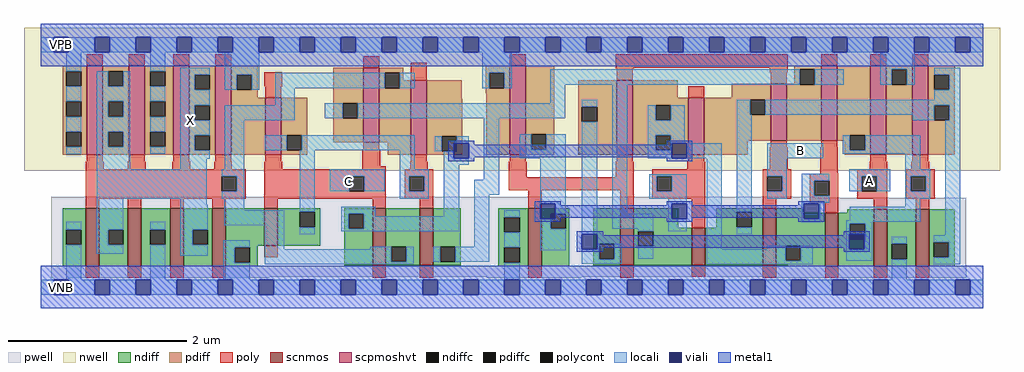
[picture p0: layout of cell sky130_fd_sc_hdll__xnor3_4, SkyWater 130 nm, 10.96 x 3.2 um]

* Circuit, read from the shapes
.subckt sky130_fd_sc_hdll__xnor3_4 A B C VGND VNB VPB VPWR X
XM1 X n1 VGND VNB sky130_fd_pr__nfet_01v8 w=0.65 l=0.15 m=4
XM2 n2 C VGND VNB sky130_fd_pr__nfet_01v8 w=0.42 l=0.15
XM3 n1 C n3 VNB sky130_fd_pr__nfet_01v8 w=0.64 l=0.15
XM4 n4 n2 n1 VNB sky130_fd_pr__nfet_01v8 w=0.64 l=0.15
XM5 n5 B VGND VNB sky130_fd_pr__nfet_01v8 w=0.65 l=0.15
XM6 n4 B n6 VNB sky130_fd_pr__nfet_01v8 w=0.64 l=0.15
XM7 n7 n5 n4 VNB sky130_fd_pr__nfet_01v8 w=0.42 l=0.15
XM8 n3 B n7 VNB sky130_fd_pr__nfet_01v8 w=0.64 l=0.15
XM9 n6 n5 n3 VNB sky130_fd_pr__nfet_01v8 w=0.6 l=0.15
XM10 VGND A n6 VNB sky130_fd_pr__nfet_01v8 w=0.64 l=0.15
XM11 n7 n6 VGND VNB sky130_fd_pr__nfet_01v8 w=0.64 l=0.15
XM12 X n1 VPWR VPB sky130_fd_pr__pfet_01v8_hvt w=1 l=0.18 m=4
XM13 n2 C VPWR VPB sky130_fd_pr__pfet_01v8_hvt w=0.64 l=0.18
XM14 n1 C n4 VPB sky130_fd_pr__pfet_01v8_hvt w=0.84 l=0.18
XM15 n3 n2 n1 VPB sky130_fd_pr__pfet_01v8_hvt w=0.84 l=0.18
XM16 n5 B VPWR VPB sky130_fd_pr__pfet_01v8_hvt w=1 l=0.18
XM17 n3 B n6 VPB sky130_fd_pr__pfet_01v8_hvt w=0.84 l=0.18
XM18 n7 n5 n3 VPB sky130_fd_pr__pfet_01v8_hvt w=0.64 l=0.18
XM19 n4 B n7 VPB sky130_fd_pr__pfet_01v8_hvt w=0.64 l=0.18
XM20 n6 n5 n4 VPB sky130_fd_pr__pfet_01v8_hvt w=0.84 l=0.18
XM21 VPWR A n6 VPB sky130_fd_pr__pfet_01v8_hvt w=1 l=0.18
XM22 n7 n6 VPWR VPB sky130_fd_pr__pfet_01v8_hvt w=1 l=0.18
.ends

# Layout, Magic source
magic
tech sky130A
magscale 1 2
<< nwell >>
rect -38 261 2154 582
<< pwell >>
rect 23 201 1737 203
rect 23 23 2078 201
rect 23 21 513 23
rect 1001 21 1213 23
rect 1652 21 2078 23
rect 29 -17 63 21
<< scnmos >>
rect 101 47 131 177
rect 195 47 225 177
rect 291 47 321 177
rect 385 47 415 177
rect 502 93 532 177
rect 745 49 775 177
rect 851 49 881 177
rect 1095 47 1125 177
rect 1301 49 1331 177
rect 1462 49 1492 133
rect 1621 49 1651 177
rect 1761 47 1791 167
rect 1871 47 1901 175
rect 1965 47 1995 175
<< scpmoshvt >>
rect 103 297 139 497
rect 197 297 233 497
rect 297 297 333 497
rect 391 297 427 497
rect 504 297 540 425
rect 724 325 760 493
rect 831 297 867 465
rect 1053 297 1089 497
rect 1293 297 1329 465
rect 1454 297 1490 425
rect 1639 329 1675 457
rect 1752 329 1788 497
rect 1863 297 1899 497
rect 1957 297 1993 497
<< ndiff >>
rect 49 129 101 177
rect 49 95 57 129
rect 91 95 101 129
rect 49 47 101 95
rect 131 129 195 177
rect 131 95 151 129
rect 185 95 195 129
rect 131 47 195 95
rect 225 129 291 177
rect 225 95 245 129
rect 279 95 291 129
rect 225 47 291 95
rect 321 129 385 177
rect 321 95 341 129
rect 375 95 385 129
rect 321 47 385 95
rect 415 93 502 177
rect 532 169 627 177
rect 532 135 581 169
rect 615 135 627 169
rect 532 93 627 135
rect 681 165 745 177
rect 681 131 691 165
rect 725 131 745 165
rect 415 89 487 93
rect 415 55 435 89
rect 469 55 487 89
rect 415 47 487 55
rect 681 49 745 131
rect 775 91 851 177
rect 775 57 787 91
rect 821 57 851 91
rect 775 49 851 57
rect 881 91 943 177
rect 881 57 897 91
rect 931 57 943 91
rect 881 49 943 57
rect 1027 157 1095 177
rect 1027 123 1041 157
rect 1075 123 1095 157
rect 1027 89 1095 123
rect 1027 55 1041 89
rect 1075 55 1095 89
rect 1027 47 1095 55
rect 1125 165 1187 177
rect 1125 131 1145 165
rect 1179 131 1187 165
rect 1125 47 1187 131
rect 1241 97 1301 177
rect 1241 63 1254 97
rect 1288 63 1301 97
rect 1241 49 1301 63
rect 1331 133 1431 177
rect 1517 169 1621 177
rect 1517 135 1563 169
rect 1597 135 1621 169
rect 1517 133 1621 135
rect 1331 126 1462 133
rect 1331 92 1341 126
rect 1375 92 1462 126
rect 1331 49 1462 92
rect 1492 49 1621 133
rect 1651 167 1711 177
rect 1811 167 1871 175
rect 1651 93 1761 167
rect 1651 59 1673 93
rect 1707 59 1761 93
rect 1651 49 1761 59
rect 1678 47 1761 49
rect 1791 142 1871 167
rect 1791 108 1817 142
rect 1851 108 1871 142
rect 1791 47 1871 108
rect 1901 97 1965 175
rect 1901 63 1911 97
rect 1945 63 1965 97
rect 1901 47 1965 63
rect 1995 101 2052 175
rect 1995 67 2005 101
rect 2039 67 2052 101
rect 1995 47 2052 67
<< pdiff >>
rect 49 485 103 497
rect 49 451 57 485
rect 91 451 103 485
rect 49 417 103 451
rect 49 383 57 417
rect 91 383 103 417
rect 49 349 103 383
rect 49 315 57 349
rect 91 315 103 349
rect 49 297 103 315
rect 139 485 197 497
rect 139 451 151 485
rect 185 451 197 485
rect 139 417 197 451
rect 139 383 151 417
rect 185 383 197 417
rect 139 349 197 383
rect 139 315 151 349
rect 185 315 197 349
rect 139 297 197 315
rect 233 485 297 497
rect 233 451 245 485
rect 279 451 297 485
rect 233 417 297 451
rect 233 383 245 417
rect 279 383 297 417
rect 233 349 297 383
rect 233 315 245 349
rect 279 315 297 349
rect 233 297 297 315
rect 333 477 391 497
rect 333 443 345 477
rect 379 443 391 477
rect 333 409 391 443
rect 333 375 345 409
rect 379 375 391 409
rect 333 341 391 375
rect 333 307 345 341
rect 379 307 391 341
rect 333 297 391 307
rect 427 477 487 497
rect 427 443 440 477
rect 474 443 487 477
rect 427 425 487 443
rect 427 297 504 425
rect 540 341 598 425
rect 540 307 552 341
rect 586 307 598 341
rect 657 413 724 493
rect 657 379 678 413
rect 712 379 724 413
rect 657 325 724 379
rect 760 481 814 493
rect 760 447 772 481
rect 806 465 814 481
rect 999 481 1053 497
rect 806 447 831 465
rect 760 325 831 447
rect 540 297 598 307
rect 779 297 831 325
rect 867 423 945 465
rect 999 447 1007 481
rect 1041 447 1053 481
rect 999 435 1053 447
rect 867 339 946 423
rect 867 305 900 339
rect 934 305 946 339
rect 867 297 946 305
rect 1000 297 1053 435
rect 1089 343 1153 497
rect 1692 489 1752 497
rect 1089 309 1101 343
rect 1135 309 1153 343
rect 1089 297 1153 309
rect 1207 405 1293 465
rect 1207 371 1215 405
rect 1249 371 1293 405
rect 1207 297 1293 371
rect 1329 425 1430 465
rect 1692 457 1704 489
rect 1552 425 1639 457
rect 1329 409 1454 425
rect 1329 375 1381 409
rect 1415 375 1454 409
rect 1329 341 1454 375
rect 1329 307 1381 341
rect 1415 307 1454 341
rect 1329 297 1454 307
rect 1490 421 1639 425
rect 1490 387 1593 421
rect 1627 387 1639 421
rect 1490 329 1639 387
rect 1675 455 1704 457
rect 1738 455 1752 489
rect 1675 329 1752 455
rect 1788 341 1863 497
rect 1788 329 1817 341
rect 1490 297 1587 329
rect 1805 307 1817 329
rect 1851 307 1863 341
rect 1805 297 1863 307
rect 1899 489 1957 497
rect 1899 455 1911 489
rect 1945 455 1957 489
rect 1899 297 1957 455
rect 1993 477 2052 497
rect 1993 443 2006 477
rect 2040 443 2052 477
rect 1993 409 2052 443
rect 1993 375 2006 409
rect 2040 375 2052 409
rect 1993 297 2052 375
<< ndiffc >>
rect 57 95 91 129
rect 151 95 185 129
rect 245 95 279 129
rect 341 95 375 129
rect 581 135 615 169
rect 691 131 725 165
rect 435 55 469 89
rect 787 57 821 91
rect 897 57 931 91
rect 1041 123 1075 157
rect 1041 55 1075 89
rect 1145 131 1179 165
rect 1254 63 1288 97
rect 1563 135 1597 169
rect 1341 92 1375 126
rect 1673 59 1707 93
rect 1817 108 1851 142
rect 1911 63 1945 97
rect 2005 67 2039 101
<< pdiffc >>
rect 57 451 91 485
rect 57 383 91 417
rect 57 315 91 349
rect 151 451 185 485
rect 151 383 185 417
rect 151 315 185 349
rect 245 451 279 485
rect 245 383 279 417
rect 245 315 279 349
rect 345 443 379 477
rect 345 375 379 409
rect 345 307 379 341
rect 440 443 474 477
rect 552 307 586 341
rect 678 379 712 413
rect 772 447 806 481
rect 1007 447 1041 481
rect 900 305 934 339
rect 1101 309 1135 343
rect 1215 371 1249 405
rect 1381 375 1415 409
rect 1381 307 1415 341
rect 1593 387 1627 421
rect 1704 455 1738 489
rect 1817 307 1851 341
rect 1911 455 1945 489
rect 2006 443 2040 477
rect 2006 375 2040 409
<< poly >>
rect 103 497 139 523
rect 197 497 233 523
rect 297 497 333 523
rect 391 497 427 523
rect 724 493 760 519
rect 502 451 542 483
rect 504 425 540 451
rect 831 465 867 504
rect 1053 497 1089 523
rect 724 310 760 325
rect 103 282 139 297
rect 197 282 233 297
rect 297 282 333 297
rect 391 282 427 297
rect 504 282 540 297
rect 101 265 141 282
rect 195 265 235 282
rect 295 265 335 282
rect 389 265 429 282
rect 502 265 542 282
rect 722 271 762 310
rect 1291 493 1677 523
rect 1752 497 1788 523
rect 1863 497 1899 523
rect 1957 497 1993 523
rect 1291 491 1331 493
rect 1293 465 1329 491
rect 1637 483 1677 493
rect 1639 457 1675 483
rect 1454 425 1490 451
rect 1639 314 1675 329
rect 1752 314 1788 329
rect 831 282 867 297
rect 1053 282 1089 297
rect 1293 282 1329 297
rect 1454 282 1490 297
rect 722 265 775 271
rect 829 265 869 282
rect 101 249 460 265
rect 101 215 406 249
rect 440 215 460 249
rect 101 199 460 215
rect 502 249 775 265
rect 502 215 692 249
rect 726 215 775 249
rect 502 199 775 215
rect 817 249 881 265
rect 817 215 827 249
rect 861 215 881 249
rect 1051 247 1091 282
rect 1291 247 1331 282
rect 1452 265 1492 282
rect 1637 265 1677 314
rect 1051 217 1331 247
rect 817 199 881 215
rect 101 177 131 199
rect 195 177 225 199
rect 291 177 321 199
rect 385 177 415 199
rect 502 177 532 199
rect 745 177 775 199
rect 851 177 881 199
rect 1095 177 1125 217
rect 1301 177 1331 217
rect 1373 249 1492 265
rect 1373 215 1383 249
rect 1417 215 1492 249
rect 1373 199 1492 215
rect 502 67 532 93
rect 101 21 131 47
rect 195 21 225 47
rect 291 21 321 47
rect 385 21 415 47
rect 745 21 775 49
rect 851 21 881 49
rect 1462 133 1492 199
rect 1621 249 1685 265
rect 1750 256 1790 314
rect 1863 282 1899 297
rect 1957 282 1993 297
rect 1861 265 1901 282
rect 1955 265 1995 282
rect 1750 255 1791 256
rect 1621 215 1631 249
rect 1665 215 1685 249
rect 1621 199 1685 215
rect 1727 239 1791 255
rect 1727 205 1737 239
rect 1771 205 1791 239
rect 1621 177 1651 199
rect 1727 189 1791 205
rect 1833 249 1901 265
rect 1833 215 1843 249
rect 1877 215 1901 249
rect 1833 199 1901 215
rect 1943 249 2007 265
rect 1943 215 1953 249
rect 1987 215 2007 249
rect 1943 199 2007 215
rect 1761 167 1791 189
rect 1871 175 1901 199
rect 1965 175 1995 199
rect 1095 21 1125 47
rect 1301 21 1331 49
rect 1462 23 1492 49
rect 1621 21 1651 49
rect 1761 21 1791 47
rect 1871 21 1901 47
rect 1965 21 1995 47
<< polycont >>
rect 406 215 440 249
rect 692 215 726 249
rect 827 215 861 249
rect 1383 215 1417 249
rect 1631 215 1665 249
rect 1737 205 1771 239
rect 1843 215 1877 249
rect 1953 215 1987 249
<< locali >>
rect 0 527 29 561
rect 63 527 121 561
rect 155 527 213 561
rect 247 527 305 561
rect 339 527 397 561
rect 431 527 489 561
rect 523 527 581 561
rect 615 527 673 561
rect 707 527 765 561
rect 799 527 857 561
rect 891 527 949 561
rect 983 527 1041 561
rect 1075 527 1133 561
rect 1167 527 1225 561
rect 1259 527 1317 561
rect 1351 527 1409 561
rect 1443 527 1501 561
rect 1535 527 1593 561
rect 1627 527 1685 561
rect 1719 527 1777 561
rect 1811 527 1869 561
rect 1903 527 1961 561
rect 1995 527 2053 561
rect 2087 527 2116 561
rect 57 485 91 527
rect 245 485 279 527
rect 57 417 91 451
rect 57 349 91 383
rect 57 298 91 315
rect 125 451 151 485
rect 185 451 201 485
rect 125 417 201 451
rect 125 383 151 417
rect 185 383 201 417
rect 125 349 201 383
rect 125 315 151 349
rect 185 315 201 349
rect 125 265 201 315
rect 245 417 279 451
rect 245 349 279 383
rect 245 299 279 315
rect 313 477 379 493
rect 313 443 345 477
rect 413 477 490 527
rect 991 481 1057 527
rect 1885 489 1962 527
rect 413 443 440 477
rect 474 443 490 477
rect 526 447 772 481
rect 806 447 840 481
rect 991 447 1007 481
rect 1041 447 1057 481
rect 1144 455 1704 489
rect 1738 455 1803 489
rect 1885 455 1911 489
rect 1945 455 1962 489
rect 2006 477 2065 493
rect 313 409 379 443
rect 526 409 570 447
rect 1144 413 1178 455
rect 313 375 345 409
rect 313 341 379 375
rect 313 307 345 341
rect 313 288 379 307
rect 413 375 570 409
rect 638 379 678 413
rect 712 379 1178 413
rect 1215 405 1249 421
rect 313 265 372 288
rect 413 265 457 375
rect 503 307 552 341
rect 586 307 840 341
rect 125 199 372 265
rect 406 249 457 265
rect 440 215 457 249
rect 406 199 457 215
rect 57 129 91 147
rect 57 17 91 95
rect 125 129 185 199
rect 313 185 372 199
rect 125 95 151 129
rect 125 75 185 95
rect 245 129 279 147
rect 245 17 279 95
rect 313 129 375 185
rect 412 173 457 199
rect 412 139 547 173
rect 313 95 341 129
rect 313 70 375 95
rect 409 89 469 105
rect 409 55 435 89
rect 409 17 469 55
rect 503 85 547 139
rect 581 169 615 307
rect 806 265 840 307
rect 884 305 900 339
rect 934 323 961 339
rect 905 289 927 305
rect 905 275 961 289
rect 649 249 772 265
rect 649 215 692 249
rect 726 215 772 249
rect 806 249 871 265
rect 806 215 827 249
rect 861 215 871 249
rect 806 199 871 215
rect 581 119 615 135
rect 675 165 751 181
rect 675 131 691 165
rect 725 159 751 165
rect 905 159 939 275
rect 995 241 1029 379
rect 1075 309 1101 343
rect 1135 309 1179 343
rect 1075 289 1179 309
rect 725 131 939 159
rect 675 125 939 131
rect 973 207 1029 241
rect 973 91 1007 207
rect 1121 187 1179 289
rect 740 85 787 91
rect 503 57 787 85
rect 821 57 837 91
rect 881 57 897 91
rect 931 57 1007 91
rect 1041 157 1075 173
rect 1041 89 1075 123
rect 503 51 837 57
rect 1155 165 1179 187
rect 1121 131 1145 153
rect 1121 83 1179 131
rect 1215 119 1249 371
rect 1283 165 1317 455
rect 2040 443 2065 477
rect 2006 421 2065 443
rect 1363 375 1381 409
rect 1415 375 1446 409
rect 1363 341 1446 375
rect 1363 307 1381 341
rect 1415 323 1446 341
rect 1563 387 1593 421
rect 1627 409 2065 421
rect 1627 387 2006 409
rect 1415 307 1417 323
rect 1363 289 1417 307
rect 1451 289 1529 323
rect 1366 249 1451 254
rect 1366 215 1383 249
rect 1417 215 1451 249
rect 1366 199 1451 215
rect 1409 187 1451 199
rect 1283 131 1375 165
rect 1341 126 1375 131
rect 1409 153 1417 187
rect 1409 126 1451 153
rect 1249 85 1254 97
rect 1041 17 1075 55
rect 1215 63 1254 85
rect 1288 63 1304 97
rect 1341 64 1375 92
rect 1495 85 1529 289
rect 1563 169 1597 387
rect 1958 375 2006 387
rect 2040 375 2065 409
rect 1631 289 1757 323
rect 1801 307 1817 341
rect 1851 307 1975 341
rect 1801 299 1975 307
rect 1631 249 1675 289
rect 1941 265 1975 299
rect 1665 215 1675 249
rect 1631 199 1675 215
rect 1709 239 1771 255
rect 1709 205 1737 239
rect 1815 249 1907 265
rect 1815 215 1843 249
rect 1877 215 1907 249
rect 1941 249 1997 265
rect 1941 215 1953 249
rect 1987 215 1997 249
rect 1709 189 1771 205
rect 1941 199 1997 215
rect 1709 187 1750 189
rect 1709 153 1713 187
rect 1747 153 1750 187
rect 1941 181 1975 199
rect 1709 146 1750 153
rect 1817 150 1975 181
rect 1809 147 1975 150
rect 1563 119 1597 135
rect 1809 142 1867 147
rect 1809 119 1817 142
rect 1631 85 1673 93
rect 1215 53 1304 63
rect 1495 59 1673 85
rect 1707 59 1734 93
rect 1809 85 1815 119
rect 1851 108 1867 142
rect 2031 117 2065 375
rect 1849 85 1867 108
rect 1809 59 1867 85
rect 1911 97 1945 113
rect 1495 51 1734 59
rect 1911 17 1945 63
rect 2005 101 2065 117
rect 2039 67 2065 101
rect 2005 51 2065 67
rect 0 -17 29 17
rect 63 -17 121 17
rect 155 -17 213 17
rect 247 -17 305 17
rect 339 -17 397 17
rect 431 -17 489 17
rect 523 -17 581 17
rect 615 -17 673 17
rect 707 -17 765 17
rect 799 -17 857 17
rect 891 -17 949 17
rect 983 -17 1041 17
rect 1075 -17 1133 17
rect 1167 -17 1225 17
rect 1259 -17 1317 17
rect 1351 -17 1409 17
rect 1443 -17 1501 17
rect 1535 -17 1593 17
rect 1627 -17 1685 17
rect 1719 -17 1777 17
rect 1811 -17 1869 17
rect 1903 -17 1961 17
rect 1995 -17 2053 17
rect 2087 -17 2116 17
<< viali >>
rect 29 527 63 561
rect 121 527 155 561
rect 213 527 247 561
rect 305 527 339 561
rect 397 527 431 561
rect 489 527 523 561
rect 581 527 615 561
rect 673 527 707 561
rect 765 527 799 561
rect 857 527 891 561
rect 949 527 983 561
rect 1041 527 1075 561
rect 1133 527 1167 561
rect 1225 527 1259 561
rect 1317 527 1351 561
rect 1409 527 1443 561
rect 1501 527 1535 561
rect 1593 527 1627 561
rect 1685 527 1719 561
rect 1777 527 1811 561
rect 1869 527 1903 561
rect 1961 527 1995 561
rect 2053 527 2087 561
rect 927 305 934 323
rect 934 305 961 323
rect 927 289 961 305
rect 1121 165 1155 187
rect 1121 153 1145 165
rect 1145 153 1155 165
rect 1417 289 1451 323
rect 1215 85 1249 119
rect 1417 153 1451 187
rect 1713 153 1747 187
rect 1815 108 1817 119
rect 1817 108 1849 119
rect 1815 85 1849 108
rect 29 -17 63 17
rect 121 -17 155 17
rect 213 -17 247 17
rect 305 -17 339 17
rect 397 -17 431 17
rect 489 -17 523 17
rect 581 -17 615 17
rect 673 -17 707 17
rect 765 -17 799 17
rect 857 -17 891 17
rect 949 -17 983 17
rect 1041 -17 1075 17
rect 1133 -17 1167 17
rect 1225 -17 1259 17
rect 1317 -17 1351 17
rect 1409 -17 1443 17
rect 1501 -17 1535 17
rect 1593 -17 1627 17
rect 1685 -17 1719 17
rect 1777 -17 1811 17
rect 1869 -17 1903 17
rect 1961 -17 1995 17
rect 2053 -17 2087 17
<< metal1 >>
rect 0 561 2116 592
rect 0 527 29 561
rect 63 527 121 561
rect 155 527 213 561
rect 247 527 305 561
rect 339 527 397 561
rect 431 527 489 561
rect 523 527 581 561
rect 615 527 673 561
rect 707 527 765 561
rect 799 527 857 561
rect 891 527 949 561
rect 983 527 1041 561
rect 1075 527 1133 561
rect 1167 527 1225 561
rect 1259 527 1317 561
rect 1351 527 1409 561
rect 1443 527 1501 561
rect 1535 527 1593 561
rect 1627 527 1685 561
rect 1719 527 1777 561
rect 1811 527 1869 561
rect 1903 527 1961 561
rect 1995 527 2053 561
rect 2087 527 2116 561
rect 0 496 2116 527
rect 915 323 973 329
rect 915 289 927 323
rect 961 320 973 323
rect 1405 323 1463 329
rect 1405 320 1417 323
rect 961 292 1417 320
rect 961 289 973 292
rect 915 283 973 289
rect 1405 289 1417 292
rect 1451 289 1463 323
rect 1405 283 1463 289
rect 1109 187 1167 193
rect 1109 153 1121 187
rect 1155 184 1167 187
rect 1405 187 1463 193
rect 1405 184 1417 187
rect 1155 156 1417 184
rect 1155 153 1167 156
rect 1109 147 1167 153
rect 1405 153 1417 156
rect 1451 184 1463 187
rect 1701 187 1759 193
rect 1701 184 1713 187
rect 1451 156 1713 184
rect 1451 153 1463 156
rect 1405 147 1463 153
rect 1701 153 1713 156
rect 1747 153 1759 187
rect 1701 147 1759 153
rect 1203 119 1263 125
rect 1203 85 1215 119
rect 1249 116 1263 119
rect 1803 119 1861 125
rect 1803 116 1815 119
rect 1249 88 1815 116
rect 1249 85 1263 88
rect 1203 79 1263 85
rect 1803 85 1815 88
rect 1849 85 1861 119
rect 1803 79 1861 85
rect 0 17 2116 48
rect 0 -17 29 17
rect 63 -17 121 17
rect 155 -17 213 17
rect 247 -17 305 17
rect 339 -17 397 17
rect 431 -17 489 17
rect 523 -17 581 17
rect 615 -17 673 17
rect 707 -17 765 17
rect 799 -17 857 17
rect 891 -17 949 17
rect 983 -17 1041 17
rect 1075 -17 1133 17
rect 1167 -17 1225 17
rect 1259 -17 1317 17
rect 1351 -17 1409 17
rect 1443 -17 1501 17
rect 1535 -17 1593 17
rect 1627 -17 1685 17
rect 1719 -17 1777 17
rect 1811 -17 1869 17
rect 1903 -17 1961 17
rect 1995 -17 2053 17
rect 2087 -17 2116 17
rect 0 -48 2116 -17
<< labels >>
flabel locali s 319 357 353 391 0 FreeSans 340 0 0 0 X
port 8 nsew signal output
flabel locali s 1689 289 1723 323 0 FreeSans 340 0 0 0 B
port 2 nsew signal input
flabel locali s 674 221 708 255 0 FreeSans 340 0 0 0 C
port 3 nsew signal input
flabel locali s 1815 215 1907 265 0 FreeSans 340 0 0 0 A
port 1 nsew signal input
flabel pwell s 29 -17 63 17 0 FreeSans 200 0 0 0 VNB
port 5 nsew ground bidirectional
flabel nwell s 29 527 63 561 0 FreeSans 200 0 0 0 VPB
port 6 nsew power bidirectional
flabel metal1 s 29 -17 63 17 0 FreeSans 200 0 0 0 VGND
port 4 nsew ground bidirectional
flabel metal1 s 29 527 63 561 0 FreeSans 200 0 0 0 VPWR
port 7 nsew power bidirectional
rlabel comment s 0 0 0 0 4 hkscl5hdv1_xnor3_1
flabel comment s 0 544 0 544 3 FreeSans 200 0 0 0 HHNEC
<< properties >>
string LEFsite unithd
string LEFclass CORE
string FIXED_BBOX 0 0 2116 544
string GDS_FILE $PDKPATH/libs.ref/sky130_fd_sc_hdll/gds/sky130_fd_sc_hdll.gds
string LEFsymmetry X Y R90
string GDS_END 1250816
string GDS_START 1236894
string LEFproperties maskLayoutSubType "abstract" prCellType "standard" originalViewName "layout"
<< end >>
